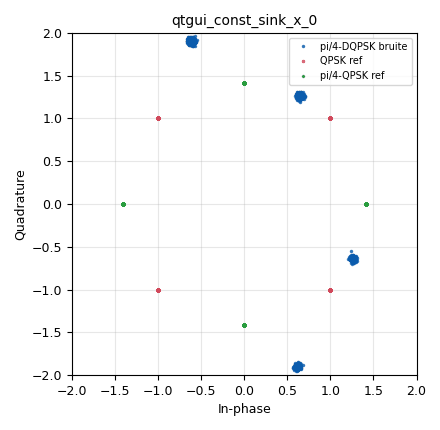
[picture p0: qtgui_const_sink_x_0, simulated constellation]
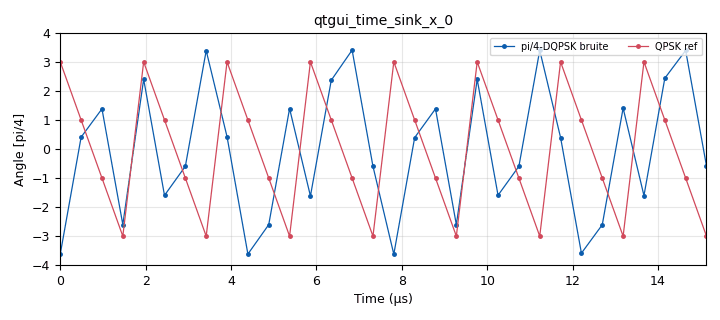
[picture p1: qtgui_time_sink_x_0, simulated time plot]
options:
  parameters:
    generate_options: qt_gui
    id: OFDM_wav_TS_step_03_04_E
    output_language: python
    title: OFDM_wav_TS_step_03_04_E
  states: {}

blocks:
- name: my_const_1
  id: variable_constellation
  parameters:
    const_points: '[-1-1j, -1+1j, 1+1j, 1-1j]'
    dims: '1'
    normalization: digital.constellation.NO_NORMALIZATION
    precision: '8'
    rot_sym: '4'
    sym_map: '[0, 1, 3, 2]'
    type: calcdist
  states: {}
- name: my_const_2
  id: variable_constellation
  parameters:
    const_points: '[-1-1j, -1+1j, 1+1j, 1-1j]'
    dims: '1'
    normalization: digital.constellation.NO_NORMALIZATION
    precision: '8'
    rot_sym: '4'
    sym_map: '[0, 1, 3, 2]'
    type: calcdist
  states: {}
- name: noise_volt
  id: variable_qtgui_range
  parameters:
    label: noise_volt
    start: '0'
    step: '0.001'
    stop: '2'
    value: '0.1'
  states: {}
- name: samp_rate
  id: variable
  parameters:
    value: '2048000'
  states: {}
- name: subCarr_K
  id: variable
  parameters:
    value: '4'
  states: {}
- name: analog_const_source_x_0
  id: analog_const_source_x
  parameters:
    const: 0.707106781+0.707106781j
    type: complex
  states: {}
- name: blocks_complex_to_arg_0
  id: blocks_complex_to_arg
  parameters:
    comment: Phase pi/4-DQPSK bruite
  states: {}
- name: blocks_complex_to_arg_1
  id: blocks_complex_to_arg
  parameters:
    comment: Phase QPSK ref
  states: {}
- name: blocks_delay_0
  id: blocks_delay
  parameters:
    delay: '1'
    type: complex
  states: {}
- name: blocks_delay_1
  id: blocks_delay
  parameters:
    comment: Compensation retard Channel Model
    delay: '3'
    type: complex
  states: {}
- name: blocks_multiply_const_vxx_0
  id: blocks_multiply_const_vxx
  parameters:
    comment: decalage pi/4
    const: 0.707106781+0.707106781j
    type: complex
  states: {}
- name: blocks_multiply_const_vxx_1
  id: blocks_multiply_const_vxx
  parameters:
    comment: Normalise en pi/4
    const: '1.27324'
    type: float
  states: {}
- name: blocks_multiply_const_vxx_2
  id: blocks_multiply_const_vxx
  parameters:
    comment: Normalise QPSK ref
    const: '1.27324'
    type: float
  states: {}
- name: blocks_multiply_const_vxx_3
  id: blocks_multiply_const_vxx
  parameters:
    comment: 'pi/4-QPSK ref : rotation pi/4'
    const: 0.707106781+0.707106781j
    type: complex
  states: {}
- name: blocks_multiply_xx_0
  id: blocks_multiply_xx
  parameters:
    type: complex
  states: {}
- name: blocks_multiply_xx_1
  id: blocks_multiply_xx
  parameters:
    comment: Resynchro tag
    type: complex
  states: {}
- name: blocks_null_sink_0
  id: blocks_null_sink
  parameters:
    type: complex
  states: {}
- name: blocks_stream_demux_0
  id: blocks_stream_demux
  parameters:
    lengths: (1, 4)
    type: complex
  states: {}
- name: blocks_stream_mux_0
  id: blocks_stream_mux
  parameters:
    lengths: (1, 4)
    type: complex
  states: {}
- name: blocks_stream_to_tagged_stream_0
  id: blocks_stream_to_tagged_stream
  parameters:
    len_tag_key: packet_len
    packet_len: '4'
    type: complex
  states: {}
- name: blocks_throttle2_0
  id: blocks_throttle2
  parameters:
    samples_per_second: samp_rate
    type: byte
  states: {}
- name: blocks_vector_source_x_0
  id: blocks_vector_source_x
  parameters:
    repeat: 'True'
    type: byte
    vector: '[0, 1, 2, 3]'
  states: {}
- name: blocks_vector_source_x_0_0
  id: blocks_vector_source_x
  parameters:
    comment: QPSK ref
    repeat: 'True'
    type: byte
    vector: '[0, 1, 2, 3]'
  states: {}
- name: channels_channel_model_0
  id: channels_channel_model
  parameters:
    comment: Canal AWGN + dephasage pi/10
    epsilon: '1.0'
    freq_offset: '0.0'
    noise_voltage: '0.03'
    seed: '0'
    taps: '[math.cos(math.pi/10) + 1j*math.sin(math.pi/10)]'
  states: {}
- name: digital_constellation_encoder_bc_0
  id: digital_constellation_encoder_bc
  parameters:
    constellation: my_const_1
  states: {}
- name: digital_constellation_encoder_bc_ref
  id: digital_constellation_encoder_bc
  parameters:
    comment: QPSK ref
    constellation: my_const_2
  states: {}
- name: import_math
  id: import
  parameters:
    imports: import math
  states: {}
- name: qtgui_const_sink_x_0
  id: qtgui_const_sink_x
  parameters:
    label1: pi/4-DQPSK bruite
    label2: QPSK ref
    label3: pi/4-QPSK ref
    nconnections: '3'
    size: '1024'
    style1: '1'
    style2: '1'
    style3: '1'
    type: complex
  states: {}
- name: qtgui_time_sink_x_0
  id: qtgui_time_sink_x
  parameters:
    ctrlpanel: 'True'
    grid: 'True'
    label1: pi/4-DQPSK bruite
    label2: QPSK ref
    marker1: '1'
    marker2: '1'
    nconnections: '2'
    size: '32'
    srate: samp_rate
    tr_mode: qtgui.TRIG_MODE_TAG
    tr_tag: '"packet_len"'
    type: float
    ylabel: Angle [pi/4]
    ymax: '4'
    ymin: '-4'
  states: {}

connections:
- [analog_const_source_x_0, '0', blocks_stream_mux_0, '0']
- [blocks_complex_to_arg_0, '0', blocks_multiply_const_vxx_1, '0']
- [blocks_complex_to_arg_1, '0', blocks_multiply_const_vxx_2, '0']
- [blocks_delay_0, '0', blocks_multiply_xx_0, '1']
- [blocks_delay_1, '0', blocks_multiply_xx_1, '1']
- [blocks_multiply_const_vxx_0, '0', blocks_stream_mux_0, '1']
- [blocks_multiply_const_vxx_1, '0', qtgui_time_sink_x_0, '0']
- [blocks_multiply_const_vxx_2, '0', qtgui_time_sink_x_0, '1']
- [blocks_multiply_const_vxx_3, '0', qtgui_const_sink_x_0, '2']
- [blocks_multiply_xx_0, '0', channels_channel_model_0, '0']
- [blocks_multiply_xx_1, '0', blocks_stream_demux_0, '0']
- [blocks_stream_demux_0, '0', blocks_null_sink_0, '0']
- [blocks_stream_demux_0, '1', blocks_complex_to_arg_0, '0']
- [blocks_stream_mux_0, '0', blocks_delay_0, '0']
- [blocks_stream_mux_0, '0', blocks_multiply_xx_0, '0']
- [blocks_stream_to_tagged_stream_0, '0', blocks_delay_1, '0']
- [blocks_stream_to_tagged_stream_0, '0', blocks_multiply_const_vxx_0, '0']
- [blocks_throttle2_0, '0', digital_constellation_encoder_bc_0, '0']
- [blocks_vector_source_x_0, '0', blocks_throttle2_0, '0']
- [blocks_vector_source_x_0_0, '0', digital_constellation_encoder_bc_ref, '0']
- [channels_channel_model_0, '0', blocks_multiply_xx_1, '0']
- [channels_channel_model_0, '0', qtgui_const_sink_x_0, '0']
- [digital_constellation_encoder_bc_0, '0', blocks_stream_to_tagged_stream_0, '0']
- [digital_constellation_encoder_bc_ref, '0', blocks_complex_to_arg_1, '0']
- [digital_constellation_encoder_bc_ref, '0', blocks_multiply_const_vxx_3, '0']
- [digital_constellation_encoder_bc_ref, '0', qtgui_const_sink_x_0, '1']

metadata:
  file_format: 1
  grc_version: 3.10.9.2
